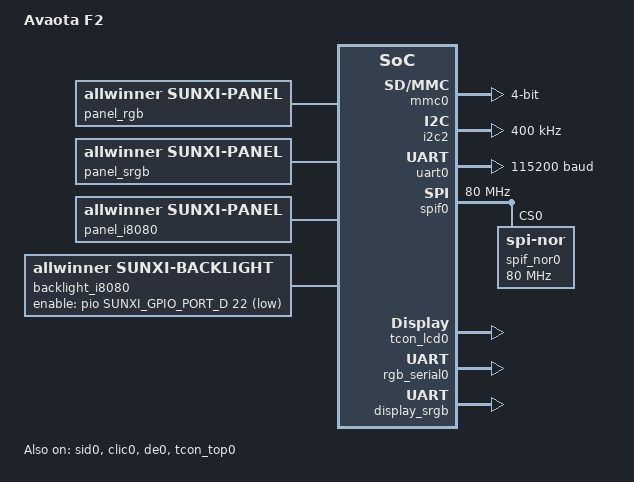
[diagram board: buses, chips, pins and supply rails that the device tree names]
// SPDX-License-Identifier: GPL-2.0+
/dts-v1/;

#include <dt-bindings/display/sunxi-display.h>
#include <dt-bindings/dram/dram-param.h>

#include <dt-bindings/gpio/sunxi-gpio.h>
#include <dt-bindings/soc/sun252iw1.h>

/ {
	#address-cells = <1>;
	#size-cells = <1>;
	model = "Avaota F2";
	compatible = "syterkit,avaota-f2";

	aliases {
		sid0 = &sid0;
		display0 = &display0;
		display1 = &display_srgb;
		display2 = &display_i8080;
		dram0 = &dram0;
		i2c2 = &i2c2;
		intc0 = &clic0;
		mmc0 = &mmc0;
		spif0 = &spif0;
		spif-nor0 = &spif_nor0;
	};

	chosen {
		stdout-path = &uart0;
	};

	reserved-memory {
		#address-cells = <1>;
		#size-cells = <1>;
		ranges;

		mmc0_dma: dma-descriptors@43600000 {
			reg = <0x43600000 0x00100000>;
			no-map;
		};
	};

	dram0: dram-controller {
		compatible = "allwinner,sunxi-dram";
		allwinner,dram-base = <0x40000000>;
		allwinner,dram-parameters =
			<1056>,
			<SUNXI_DRAM_DDR3>,
			<0x007b6bfb>,
			<0x00000001>,
			<0x000010d2>,
			<0x00000000>,
			<0x00001c70>,
			<0x00000002>,
			<0x00000018>,
			<0x00000000>,
			<0x004a2195>,
			<0x02423190>,
			<0x0008b061>,
			<0xb4787896>,
			<0x00000000>,
			<0x48484848>,
			<0x00000048>,
			<0x1621121e>,
			<0x00000000>,
			<0x00000000>,
			<0x00000000>, // 0x001d0000 for training
			<0x00460000>,
			<0x00000055>,
			<0x34040500>,
			<0x00000000>,
			<0x00000000>,
			<0x00000000>,
			<0x00000000>,
			<0x00000000>,
			<0x00000000>,
			<0x00000000>,
			<0x00000000>;
		status = "okay";
	};

	pio: pinctrl@2000000 {
		compatible = "allwinner,sunxi-pinctrl";
		reg = <SUNXI_GPIO_BASE 0x1000>;
		allwinner,bank-base = <SUNXI_GPIO_PORT_A>;
		allwinner,bank-count = <11>;
		gpio-controller;
		#gpio-cells = <3>;

		uart0_pins: uart0-pins {
			allwinner,pins =
				<SUNXI_GPIO_PORT_H 9 5>,
				<SUNXI_GPIO_PORT_H 10 5>;
		};

		spif_pins: spif-pins {
			allwinner,pins =
				<SUNXI_GPIO_PORT_C 1 2>,
				<SUNXI_GPIO_PORT_C 0 2>,
				<SUNXI_GPIO_PORT_C 2 2>,
				<SUNXI_GPIO_PORT_C 3 2>,
				<SUNXI_GPIO_PORT_C 4 2>,
				<SUNXI_GPIO_PORT_C 5 2>;
		};

		mmc0_pins: mmc0-pins {
			allwinner,pins =
				<SUNXI_GPIO_PORT_F 2 2>,
				<SUNXI_GPIO_PORT_F 3 2>,
				<SUNXI_GPIO_PORT_F 1 2>,
				<SUNXI_GPIO_PORT_F 0 2>,
				<SUNXI_GPIO_PORT_F 5 2>,
				<SUNXI_GPIO_PORT_F 4 2>;
		};

		/* parallel RGB888: D0..D23 are PD0-PD17 and PE0-PE5 (low bits), PD18 pixel clock, PD19..PD21 DE/HS/VS. Pins from the vendor BSP, the signal order is not checked on the board */
		lcd_rgb24_pins: lcd-rgb24-pins {
			allwinner,pins =
				<SUNXI_GPIO_PORT_D 0 2>,
				<SUNXI_GPIO_PORT_D 1 2>,
				<SUNXI_GPIO_PORT_D 2 2>,
				<SUNXI_GPIO_PORT_D 3 2>,
				<SUNXI_GPIO_PORT_D 4 2>,
				<SUNXI_GPIO_PORT_D 5 2>,
				<SUNXI_GPIO_PORT_D 6 2>,
				<SUNXI_GPIO_PORT_D 7 2>,
				<SUNXI_GPIO_PORT_D 8 2>,
				<SUNXI_GPIO_PORT_D 9 2>,
				<SUNXI_GPIO_PORT_D 10 2>,
				<SUNXI_GPIO_PORT_D 11 2>,
				<SUNXI_GPIO_PORT_D 12 2>,
				<SUNXI_GPIO_PORT_D 13 2>,
				<SUNXI_GPIO_PORT_D 14 2>,
				<SUNXI_GPIO_PORT_D 15 2>,
				<SUNXI_GPIO_PORT_D 16 2>,
				<SUNXI_GPIO_PORT_D 17 2>,
				<SUNXI_GPIO_PORT_D 18 2>,
				<SUNXI_GPIO_PORT_D 19 2>,
				<SUNXI_GPIO_PORT_D 20 2>,
				<SUNXI_GPIO_PORT_D 21 2>,
				<SUNXI_GPIO_PORT_E 0 4>,
				<SUNXI_GPIO_PORT_E 1 4>,
				<SUNXI_GPIO_PORT_E 2 4>,
				<SUNXI_GPIO_PORT_E 3 4>,
				<SUNXI_GPIO_PORT_E 4 4>,
				<SUNXI_GPIO_PORT_E 5 4>;
		};

		/* serial RGB: 8 data pins PD1-PD8, PD18 clock, PD19..PD21 DE/HS/VS (vendor BSP rgb8 group), not checked on the board */
		lcd_rgb8_pins: lcd-rgb8-pins {
			allwinner,pins =
				<SUNXI_GPIO_PORT_D 1 2>,
				<SUNXI_GPIO_PORT_D 2 2>,
				<SUNXI_GPIO_PORT_D 3 2>,
				<SUNXI_GPIO_PORT_D 4 2>,
				<SUNXI_GPIO_PORT_D 5 2>,
				<SUNXI_GPIO_PORT_D 6 2>,
				<SUNXI_GPIO_PORT_D 7 2>,
				<SUNXI_GPIO_PORT_D 8 2>,
				<SUNXI_GPIO_PORT_D 18 2>,
				<SUNXI_GPIO_PORT_D 19 2>,
				<SUNXI_GPIO_PORT_D 20 2>,
				<SUNXI_GPIO_PORT_D 21 2>;
		};

		/* i8080, 8 bit data (the vendor cpu_16bit_65k group): PD1-PD8 data, PD18 write strobe, PD19..PD21 control; not checked on the board */
		lcd_i8080_pins: lcd-i8080-pins {
			allwinner,pins =
				<SUNXI_GPIO_PORT_D 1 2>,
				<SUNXI_GPIO_PORT_D 2 2>,
				<SUNXI_GPIO_PORT_D 3 2>,
				<SUNXI_GPIO_PORT_D 4 2>,
				<SUNXI_GPIO_PORT_D 5 2>,
				<SUNXI_GPIO_PORT_D 6 2>,
				<SUNXI_GPIO_PORT_D 7 2>,
				<SUNXI_GPIO_PORT_D 8 2>,
				<SUNXI_GPIO_PORT_D 18 2>,
				<SUNXI_GPIO_PORT_D 19 2>,
				<SUNXI_GPIO_PORT_D 20 2>,
				<SUNXI_GPIO_PORT_D 21 2>;
		};
	};

	r_pio: pinctrl@2000540 {
		compatible = "allwinner,sunxi-pinctrl";
		reg = <SUNXI_RGPIO_BASE 0x1000>;
		allwinner,bank-base = <SUNXI_GPIO_PORT_L>;
		allwinner,bank-count = <3>;
		gpio-controller;
		#gpio-cells = <3>;

		i2c2_pins: i2c2-pins {
			allwinner,pins =
				<SUNXI_GPIO_PORT_L 3 2>,
				<SUNXI_GPIO_PORT_L 4 2>;
		};
	};

	soc {
		compatible = "simple-bus";
		#address-cells = <1>;
		#size-cells = <1>;
		ranges;

		sid0: efuse@7091000 {
			compatible = "allwinner,sunxi-sid";
			reg = <SUNXI_SID_BASE 0x400>;
			status = "okay";
		};

		clic0: interrupt-controller@30800000 {
			compatible = "thead,c900-clic";
			reg = <SUNXI_RISCV_CLIC_BASE 0x2000>;
			interrupt-controller;
			#interrupt-cells = <1>;
			riscv,num-sources = <208>;
			status = "okay";
		};

		mmc0: mmc@4020000 {
			compatible = "allwinner,sunxi-mmc";
			reg = <SUNXI_SMHC0_BASE 0x1000>;
			label = "sdhci0";
			allwinner,mmc-id = <0>;
			bus-width = <4>;
			max-frequency = <50000000>;
			memory-region = <&mmc0_dma>;
			allwinner,clock-gate = <(SUNXI_CCU_BASE + 0x84c) 0>;
			allwinner,reset = <(SUNXI_CCU_BASE + 0x84c) 16>;
			allwinner,module-clock = <(SUNXI_CCU_BASE + 0x830) 8 0 1>;
			allwinner,clock-source-rates = <24000000 400000000 300000000 0>;
			pinctrl-names = "default";
			pinctrl-0 = <&mmc0_pins>;
			status = "okay";
		};

		i2c2: i2c@2502000 {
			compatible = "allwinner,sunxi-i2c";
			#address-cells = <1>;
			#size-cells = <0>;
			reg = <SUNXI_TWI2_BASE 0x400>;
			clock-frequency = <400000>;
			allwinner,i2c-id = <2>;
			allwinner,parent-clock-frequency = <24000000>;
			allwinner,clock-gate = <(SUNXI_CCU_BASE + 0x91c) 2>;
			allwinner,reset = <(SUNXI_CCU_BASE + 0x91c) 18>;
			pinctrl-names = "default";
			pinctrl-0 = <&i2c2_pins>;
			status = "okay";
		};

		uart0: serial@2500000 {
			compatible = "allwinner,sunxi-uart";
			reg = <SUNXI_UART0_BASE 0x400>;
			current-speed = <115200>;
			clock-frequency = <24000000>;
			allwinner,uart-id = <0>;
			allwinner,clock-gate = <(SUNXI_CCU_BASE + 0x90c) 0>;
			allwinner,reset = <(SUNXI_CCU_BASE + 0x90c) 16>;
			pinctrl-names = "default";
			pinctrl-0 = <&uart0_pins>;
			status = "okay";
		};

		spif0: spif@c000000 {
			compatible = "allwinner,sunxi-spif";
			#address-cells = <1>;
			#size-cells = <0>;
			allwinner,spif-id = <0>;
			reg = <SUNXI_SPI_FLASH_BASE 0x1000>;
			clock-frequency = <80000000>;
			allwinner,module-clock = <(SUNXI_CCU_BASE + 0x950) 1 8 400000000 0>;
			allwinner,clock-gate = <(SUNXI_CCU_BASE + 0x96c) 4>;
			allwinner,reset = <(SUNXI_CCU_BASE + 0x96c) 20>;
			spif-rx-bus-width = <4>;
			spif-tx-bus-width = <4>;
			dtr-enable = <1>;
			io-mode-enable = <1>;
			pinctrl-names = "default";
			pinctrl-0 = <&spif_pins>;
			status = "okay";

			spif_nor0: flash@0 {
				compatible = "jedec,spi-nor";
				reg = <0>;
				spi-max-frequency = <80000000>;
			};
		};

		/*
		 * Display: de0 -> tcon_lcd0 -> one of three outputs, each with a panel preset:
		 *   display0  parallel RGB888, 800x480 (the timing of the vendor BSP boards)
		 *   display1  serial RGB, the ILI8961 320x240 panel of the vendor board
		 *   display2  i8080, the ILITEK ILI3031B 240x240 panel of the vendor board
		 * The board has no panel, so none of these is checked on real hardware. The outputs share the TCON,
		 * use one at a time. The TCON pixel clock comes from PLL_PERI(2X) (mux 1): PLL_VIDEO starts at
		 * 1272 MHz, too fast for a slow pixel clock.
		 */
		de0: display-engine@5000000 {
			compatible = "allwinner,sunxi-de";
			reg = <SUNXI_DE_BASE 0x200000>;
			allwinner,variant = "sun252iw1";
			allwinner,module-clock = <(SUNXI_CCU_BASE + 0x600) 0>;
			clock-frequency = <300000000>;
			allwinner,clock-gate = <(SUNXI_CCU_BASE + 0x60c) 0>;
			allwinner,reset = <(SUNXI_CCU_BASE + 0x60c) 16>;
			status = "okay";
		};

		tcon_top0: tcon-top@5460000 {
			compatible = "allwinner,sunxi-tcon-top";
			reg = <SUNXI_TCON_TOP_BASE 0x1000>;
			allwinner,variant = "sun252iw1";
			allwinner,clock-gate = <(SUNXI_CCU_BASE + 0xabc) 0>;
			allwinner,reset = <(SUNXI_CCU_BASE + 0xabc) 16>;
			status = "okay";
		};

		tcon_lcd0: tcon-lcd@5461000 {
			compatible = "allwinner,sunxi-tcon-lcd";
			reg = <SUNXI_TCON_LCD0_BASE 0x1000>;
			allwinner,variant = "sun252iw1";
			allwinner,tcon-id = <0>;
			allwinner,module-clock = <(SUNXI_CCU_BASE + 0xb60) 1>;
			allwinner,clock-gate = <(SUNXI_CCU_BASE + 0xb7c) 0>;
			allwinner,reset = <(SUNXI_CCU_BASE + 0xb7c) 16>;
			status = "okay";
		};

		rgb0: rgb-output {
			compatible = "allwinner,sunxi-rgb";
			allwinner,hv-mode = <0>;
			allwinner,drive-level = <1>;
			pinctrl-names = "default";
			pinctrl-0 = <&lcd_rgb24_pins>;
			status = "okay";
		};

		rgb_serial0: rgb-serial-output {
			compatible = "allwinner,sunxi-rgb";
			allwinner,hv-mode = <8>;
			allwinner,srgb-seq = <6>; /* BRG then GBR, as the vendor board */
			allwinner,drive-level = <1>;
			pinctrl-names = "default";
			pinctrl-0 = <&lcd_rgb8_pins>;
			status = "okay";
		};

		/* ILI3031B as in the vendor board: 8 bit bus, 65K colours (mode 14), frames by trigger with the TE pad */
		i8080_0: i8080-output {
			compatible = "allwinner,sunxi-i8080";
			allwinner,cpu-mode = <14>;
			allwinner,cpu-trigger;
			allwinner,cpu-te = <2>;
			allwinner,drive-level = <1>;
			pinctrl-names = "default";
			pinctrl-0 = <&lcd_i8080_pins>;
			status = "okay";
		};

		panel_rgb: panel-rgb {
			compatible = "allwinner,sunxi-panel";
			allwinner,gpio-controller = <&pio>;
			clock-frequency = <33000000>;
			hactive = <800>;
			vactive = <480>;
			hsync-len = <10>;
			hfront-porch = <25>;
			hback-porch = <46>;
			vsync-len = <10>;
			vfront-porch = <22>;
			vback-porch = <20>;
			hsync-active = <0>;
			vsync-active = <0>;
			de-active = <1>;
			pixelclk-active = <0>;
			allwinner,bus-format = "rgb888";
			status = "okay";
		};

		/* ILI8961, 320x240 serial RGB (vendor default/linux-6.6-xuantie/lcd/ili8961.dtsi): the porches are in dclk cycles */
		panel_srgb: panel-srgb {
			compatible = "allwinner,sunxi-panel";
			allwinner,gpio-controller = <&pio>;
			clock-frequency = <27000000>;
			hactive = <320>;
			vactive = <240>;
			hsync-len = <1>;
			hfront-porch = <1325>;
			hback-porch = <70>;
			vsync-len = <1>;
			vfront-porch = <1>;
			vback-porch = <21>;
			hsync-active = <0>;
			vsync-active = <0>;
			de-active = <1>;
			pixelclk-active = <0>;
			allwinner,bus-format = "rgb888";
			status = "okay";
		};

		/*
		 * ILITEK ILI3031B, 240x240 i8080 panel of the vendor board (default/linux-6.6-xuantie/lcd/ilitek_ili3031b.dtsi).
		 * PE15 reset, PE10 chip select (low = selected), PD22 backlight as a plain GPIO.
		 */
		panel_i8080: panel-i8080 {
			compatible = "allwinner,sunxi-panel";
			allwinner,gpio-controller = <&pio>;
			clock-frequency = <16000000>;
			hactive = <240>;
			vactive = <240>;
			hsync-len = <10>;
			hfront-porch = <20>;
			hback-porch = <10>;
			vsync-len = <4>;
			vfront-porch = <4>;
			vback-porch = <4>;
			hsync-active = <0>;
			vsync-active = <0>;
			de-active = <1>;
			pixelclk-active = <0>;
			allwinner,bus-format = "rgb565";
			power-on-sequence = <SUNXI_CMD_GPIO(SUNXI_PIN(SUNXI_GPIO_PORT_E, 15), 1)
					     SUNXI_CMD_DELAY(10)
					     SUNXI_CMD_GPIO(SUNXI_PIN(SUNXI_GPIO_PORT_E, 15), 0)
					     SUNXI_CMD_DELAY(200)
					     SUNXI_CMD_GPIO(SUNXI_PIN(SUNXI_GPIO_PORT_E, 15), 1)
					     SUNXI_CMD_DELAY(120)
					     SUNXI_CMD_GPIO(SUNXI_PIN(SUNXI_GPIO_PORT_E, 10), 0)>;
			power-off-sequence = <SUNXI_CMD_GPIO(SUNXI_PIN(SUNXI_GPIO_PORT_E, 10), 1)
					      SUNXI_CMD_GPIO(SUNXI_PIN(SUNXI_GPIO_PORT_E, 15), 0)
					      SUNXI_CMD_DELAY(100)>;
			init-sequence = <SUNXI_CMD_I8080(0, 3, 0xfd 0x06 0x08)
					 SUNXI_CMD_I8080(0, 3, 0x61 0x07 0x07)
					 SUNXI_CMD_I8080(0, 2, 0x73 0x70)
					 SUNXI_CMD_I8080(0, 2, 0x73 0x00)
					 SUNXI_CMD_I8080(0, 4, 0x62 0x00 0x44 0x40)
					 SUNXI_CMD_I8080(0, 5, 0x63 0x41 0x07 0x12 0x12)
					 SUNXI_CMD_I8080(0, 2, 0x64 0x37)
					 SUNXI_CMD_I8080(0, 4, 0x65 0x08 0x10 0x21)
					 SUNXI_CMD_I8080(0, 4, 0x66 0x08 0x10 0x21)
					 SUNXI_CMD_I8080(0, 3, 0x67 0x20 0x40)
					 SUNXI_CMD_I8080(0, 5, 0x68 0x90 0x30 0x77 0x5f)
					 SUNXI_CMD_I8080(0, 4, 0xb1 0x0f 0x02 0x01)
					 SUNXI_CMD_I8080(0, 2, 0xb4 0x01)
					 SUNXI_CMD_I8080(0, 5, 0xb5 0x02 0x02 0x0a 0x14)
					 SUNXI_CMD_I8080(0, 6, 0xb6 0x44 0x01 0x9f 0x00 0x02)
					 SUNXI_CMD_I8080(0, 2, 0xdf 0x11)
					 SUNXI_CMD_I8080(0, 7, 0xe2 0x02 0x02 0x04 0x2f 0x3b 0x3f)
					 SUNXI_CMD_I8080(0, 7, 0xe5 0x3f 0x3b 0x2e 0x03 0x02 0x03)
					 SUNXI_CMD_I8080(0, 3, 0xe1 0x0e 0x62)
					 SUNXI_CMD_I8080(0, 3, 0xe4 0x54 0x0f)
					 SUNXI_CMD_I8080(0, 9, 0xe0 0x05 0x06 0x0c 0x10 0x0d 0x0e 0x11 0x14)
					 SUNXI_CMD_I8080(0, 9, 0xe3 0x19 0x10 0x0d 0x0e 0x0d 0x0e 0x05 0x03)
					 SUNXI_CMD_I8080(0, 3, 0xe6 0x00 0xff)
					 SUNXI_CMD_I8080(0, 7, 0xe7 0x01 0x04 0x03 0x03 0x00 0x12)
					 SUNXI_CMD_I8080(0, 4, 0xe8 0x00 0x70 0x00)
					 SUNXI_CMD_I8080(0, 2, 0xec 0x52)
					 SUNXI_CMD_I8080(0, 4, 0xf1 0x01 0x01 0x02)
					 SUNXI_CMD_I8080(0, 5, 0xf6 0x01 0x30 0x00 0x00)
					 SUNXI_CMD_I8080(0, 3, 0xfd 0xfa 0xfc)
					 SUNXI_CMD_I8080(0, 2, 0x3a 0x05)
					 SUNXI_CMD_I8080(0, 2, 0x35 0x00)
					 SUNXI_CMD_I8080(0, 2, 0x36 0x00)
					 SUNXI_CMD_I8080(255, 1, 0x11)
					 SUNXI_CMD_I8080(10, 1, 0x29)
					 SUNXI_CMD_I8080(0, 1, 0x2c)>;
			vsync-sequence = <SUNXI_CMD_I8080(0, 1, 0x2c)>;
			exit-sequence = <SUNXI_CMD_I8080(0, 1, 0x28)
					 SUNXI_CMD_I8080(120, 1, 0x10)>;
			status = "okay";
		};

		backlight_i8080: backlight-i8080 {
			compatible = "allwinner,sunxi-backlight";
			enable-gpios = <&pio SUNXI_GPIO_PORT_D 22 1>;
			allwinner,active-high = <1>;
			status = "okay";
		};

		display0: display-subsystem {
			compatible = "allwinner,sunxi-display";
			allwinner,variant = "sun252iw1";
			allwinner,pll-video = <(SUNXI_CCU_BASE + 0x40)>;
			allwinner,pll-peri = <(SUNXI_CCU_BASE + 0x20)>;
			allwinner,de = <&de0>;
			allwinner,tcon = <&tcon_lcd0>;
			allwinner,tcon-top = <&tcon_top0>;
			allwinner,output = <&rgb0>;
			allwinner,panel = <&panel_rgb>;
			status = "okay";
		};

		display_srgb: display-subsystem-serial {
			compatible = "allwinner,sunxi-display";
			allwinner,variant = "sun252iw1";
			allwinner,pll-video = <(SUNXI_CCU_BASE + 0x40)>;
			allwinner,pll-peri = <(SUNXI_CCU_BASE + 0x20)>;
			allwinner,de = <&de0>;
			allwinner,tcon = <&tcon_lcd0>;
			allwinner,tcon-top = <&tcon_top0>;
			allwinner,output = <&rgb_serial0>;
			allwinner,panel = <&panel_srgb>;
			status = "okay";
		};

		display_i8080: display-subsystem-i8080 {
			compatible = "allwinner,sunxi-display";
			allwinner,variant = "sun252iw1";
			allwinner,pll-video = <(SUNXI_CCU_BASE + 0x40)>;
			allwinner,pll-peri = <(SUNXI_CCU_BASE + 0x20)>;
			allwinner,de = <&de0>;
			allwinner,tcon = <&tcon_lcd0>;
			allwinner,tcon-top = <&tcon_top0>;
			allwinner,output = <&i8080_0>;
			allwinner,panel = <&panel_i8080>;
			allwinner,backlight = <&backlight_i8080>;
			status = "okay";
		};
	};
};
